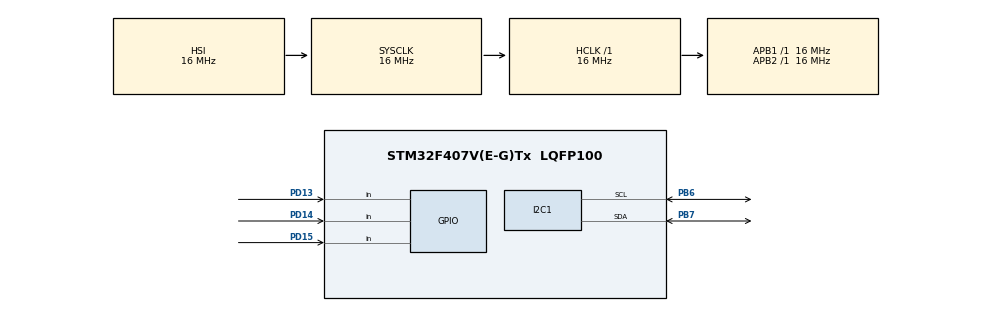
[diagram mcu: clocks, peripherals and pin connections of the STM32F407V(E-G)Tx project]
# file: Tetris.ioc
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FREERTOS.Tasks01=defaultTask,0,128,StartDefaultTask,Default,NULL,Dynamic,NULL,NULL
Mcu.Family=STM32F4
Mcu.Name=STM32F407V(E-G)Tx
Mcu.Package=LQFP100
NVIC.PriorityGroup=NVIC_PRIORITYGROUP_4
NVIC.TIM1_UP_TIM10_IRQn=true\:15\:0\:false\:false\:true\:false\:false\:true\:true
NVIC.TimeBase=TIM1_UP_TIM10_IRQn
NVIC.TimeBaseIP=TIM1
PB6.Mode=I2C
PB6.Signal=I2C1_SCL
PB7.Mode=I2C
PB7.Signal=I2C1_SDA
PD13.Signal=GPIO_Input
PD14.Signal=GPIO_Input
PD15.Signal=GPIO_Input
ProjectManager.HeapSize=0x200
ProjectManager.StackSize=0x400
ProjectManager.TargetToolchain=STM32CubeIDE
RCC.AHBFreq_Value=16000000
RCC.APB1Freq_Value=16000000
RCC.APB2Freq_Value=16000000
RCC.CortexFreq_Value=16000000
RCC.HSE_VALUE=25000000
RCC.HSI_VALUE=16000000
RCC.LSE_VALUE=32768
RCC.SYSCLKFreq_VALUE=16000000
RCC.VCOOutputFreq_Value=192000000
VP_FREERTOS_VS_CMSIS_V1.Mode=CMSIS_V1
VP_SYS_VS_tim1.Mode=TIM1
board=custom

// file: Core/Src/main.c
/* USER CODE BEGIN Header */
/**
  ******************************************************************************
  * @file           : main.c
  * @brief          : Игра Тетрис на FreeRTOS для стенда SDK-1.1M
  ******************************************************************************
  */
/* USER CODE END Header */
#include "main.h"
#include "cmsis_os.h"

/* USER CODE BEGIN Includes */
#include "tetris.h"
#include "oled.h"
#include "fonts.h"
#include "pca9538_keypad.h"
/* USER CODE END Includes */

I2C_HandleTypeDef hi2c1;

osThreadId defaultTaskHandle;
/* USER CODE BEGIN PV */
// Дескрипторы задач FreeRTOS
osThreadId TaskKeypadHandle;
osThreadId TaskGameHandle;
osThreadId TaskDisplayHandle;

// Синхронизирующие примитивы FreeRTOS
QueueHandle_t xQueueInput = NULL;
SemaphoreHandle_t xI2CMutex = NULL;
SemaphoreHandle_t xFrameReadySem = NULL;
/* USER CODE END PV */

void SystemClock_Config(void);
static void MX_GPIO_Init(void);
static void MX_I2C1_Init(void);
void StartDefaultTask(void const * argument);

/* USER CODE BEGIN PFP */
void StartTaskKeypad(void const * argument);
void StartTaskGame(void const * argument);
void StartTaskDisplay(void const * argument);
/* USER CODE END PFP */

int main(void)
{

  /* MCU Configuration--------------------------------------------------------*/

  /* Reset of all peripherals, Initializes the Flash interface and the Systick. */
  HAL_Init();

  /* Configure the system clock */
  SystemClock_Config();

  /* Initialize all configured peripherals */
  MX_GPIO_Init();
  MX_I2C1_Init();
  /* USER CODE BEGIN 2 */
    oled_Init();

    Keypad_Init(&hi2c1);

    // Создание примитивов FreeRTOS
    xQueueInput = xQueueCreate(8, sizeof(GameCommand_t));
    xI2CMutex = xSemaphoreCreateMutex();
    /* USER CODE END 2 */

  /* Create the thread(s) */
  /* definition and creation of defaultTask */
  osThreadDef(defaultTask, StartDefaultTask, osPriorityNormal, 0, 128);
  defaultTaskHandle = osThreadCreate(osThread(defaultTask), NULL);

  /* USER CODE BEGIN RTOS_THREADS */
    osThreadDef(keypadTask, StartTaskKeypad, osPriorityNormal, 0, 128);
    TaskKeypadHandle = osThreadCreate(osThread(keypadTask), NULL);

    osThreadDef(gameTask, StartTaskGame, osPriorityAboveNormal, 0, 256);
    TaskGameHandle = osThreadCreate(osThread(gameTask), NULL);
    /* USER CODE END RTOS_THREADS */

  /* Start scheduler */
  osKernelStart();

  /* We should never get here as control is now taken by the scheduler */

  /* Infinite loop */
  while (1)
  {

  }
}

void SystemClock_Config(void)
{
  RCC_OscInitTypeDef RCC_OscInitStruct = {0};
  RCC_ClkInitTypeDef RCC_ClkInitStruct = {0};

  /** Configure the main internal regulator output voltage
  */
  __HAL_RCC_PWR_CLK_ENABLE();
  __HAL_PWR_VOLTAGESCALING_CONFIG(PWR_REGULATOR_VOLTAGE_SCALE1);

  /** Initializes the RCC Oscillators according to the specified parameters
  * in the RCC_OscInitTypeDef structure.
  */
  RCC_OscInitStruct.OscillatorType = RCC_OSCILLATORTYPE_HSI;
  RCC_OscInitStruct.HSIState = RCC_HSI_ON;
  RCC_OscInitStruct.HSICalibrationValue = RCC_HSICALIBRATION_DEFAULT;
  RCC_OscInitStruct.PLL.PLLState = RCC_PLL_NONE;
  if (HAL_RCC_OscConfig(&RCC_OscInitStruct) != HAL_OK)
  {
    Error_Handler();
  }

  /** Initializes the CPU, AHB and APB buses clocks
  */
  RCC_ClkInitStruct.ClockType = RCC_CLOCKTYPE_HCLK|RCC_CLOCKTYPE_SYSCLK
                              |RCC_CLOCKTYPE_PCLK1|RCC_CLOCKTYPE_PCLK2;
  RCC_ClkInitStruct.SYSCLKSource = RCC_SYSCLKSOURCE_HSI;
  RCC_ClkInitStruct.AHBCLKDivider = RCC_SYSCLK_DIV1;
  RCC_ClkInitStruct.APB1CLKDivider = RCC_HCLK_DIV1;
  RCC_ClkInitStruct.APB2CLKDivider = RCC_HCLK_DIV1;

  if (HAL_RCC_ClockConfig(&RCC_ClkInitStruct, FLASH_LATENCY_0) != HAL_OK)
  {
    Error_Handler();
  }
}

static void MX_I2C1_Init(void)
{

  hi2c1.Instance = I2C1;
  hi2c1.Init.ClockSpeed = 100000;
  hi2c1.Init.DutyCycle = I2C_DUTYCYCLE_2;
  hi2c1.Init.OwnAddress1 = 0;
  hi2c1.Init.AddressingMode = I2C_ADDRESSINGMODE_7BIT;
  hi2c1.Init.DualAddressMode = I2C_DUALADDRESS_DISABLE;
  hi2c1.Init.OwnAddress2 = 0;
  hi2c1.Init.GeneralCallMode = I2C_GENERALCALL_DISABLE;
  hi2c1.Init.NoStretchMode = I2C_NOSTRETCH_DISABLE;
  if (HAL_I2C_Init(&hi2c1) != HAL_OK)
  {
    Error_Handler();
  }

}

static void MX_GPIO_Init(void)
{
  GPIO_InitTypeDef GPIO_InitStruct = {0};

  /* GPIO Ports Clock Enable */
  __HAL_RCC_GPIOD_CLK_ENABLE();
  __HAL_RCC_GPIOB_CLK_ENABLE();

  /*Configure GPIO pins : PD13 PD14 PD15 */
  GPIO_InitStruct.Pin = GPIO_PIN_13|GPIO_PIN_14|GPIO_PIN_15;
  GPIO_InitStruct.Mode = GPIO_MODE_INPUT;
  GPIO_InitStruct.Pull = GPIO_NOPULL;
  HAL_GPIO_Init(GPIOD, &GPIO_InitStruct);

}

/* USER CODE BEGIN 4 */

// Опрос кнопок клавиатуры
void StartTaskKeypad(void const * argument)
{
  uint8_t last_key = 0;
  osDelay(200); // Даем игре стартовать

  for (;;)
  {
    uint8_t key = 0;

    if (xSemaphoreTake(xI2CMutex, pdMS_TO_TICKS(20)) == pdTRUE)
    {
      key = Keypad_Scan(&hi2c1);
      xSemaphoreGive(xI2CMutex);
    }

    // Обработка нажатия клавиши
    if (key != 0 && key != last_key)
    {
      GameCommand_t cmd = CMD_NONE;
      switch (key)
      {
        case 4:  cmd = CMD_LEFT; break;
        case 6:  cmd = CMD_RIGHT; break;
        case 2:
        case 5:  cmd = CMD_ROTATE; break;
        case 8:  cmd = CMD_DOWN; break;
        case 10:
        case 11: cmd = CMD_HARD_DROP; break;
        case 1:
        case 12: cmd = CMD_RESTART; break;
        default: break;
      }

      if (cmd != CMD_NONE)
      {
        xQueueSend(xQueueInput, &cmd, 0);
      }
    }
    last_key = key;

    osDelay(30);
  }
}

// Логика Тетриса и вывод на экран
void StartTaskGame(void const * argument)
{
  Tetris_Init();

  if (xSemaphoreTake(xI2CMutex, portMAX_DELAY) == pdTRUE)
  {
    Tetris_Draw();
    oled_UpdateScreen();
    xSemaphoreGive(xI2CMutex);
  }

  const TickType_t xGravityPeriod = pdMS_TO_TICKS(500);

  for (;;)
  {
    GameCommand_t cmd;

    if (xQueueReceive(xQueueInput, &cmd, xGravityPeriod) == pdPASS)
    {
      Tetris_Update(cmd);
    }
    else
    {
      Tetris_Update(CMD_DOWN);
    }

    if (xSemaphoreTake(xI2CMutex, portMAX_DELAY) == pdTRUE)
    {
      Tetris_Draw();
      oled_UpdateScreen();
      xSemaphoreGive(xI2CMutex);
    }
  }
}

/* USER CODE END 4 */

/* USER CODE BEGIN Header_StartDefaultTask */
/**
  * @brief  Фоновая системная задача
  */
/* USER CODE END Header_StartDefaultTask */
void StartDefaultTask(void const * argument)
{
  /* USER CODE BEGIN 5 */
  /* Infinite loop */
  for(;;)
  {
    HAL_GPIO_TogglePin(GPIOD, GPIO_PIN_13); // Мигание зеленым светодиодом
    osDelay(500);
  }
  /* USER CODE END 5 */
}

void HAL_TIM_PeriodElapsedCallback(TIM_HandleTypeDef *htim)
{
  if (htim->Instance == TIM1)
  {
    HAL_IncTick();
  }
}

void Error_Handler(void)
{
  __disable_irq();
  while (1)
  {
  }
}
